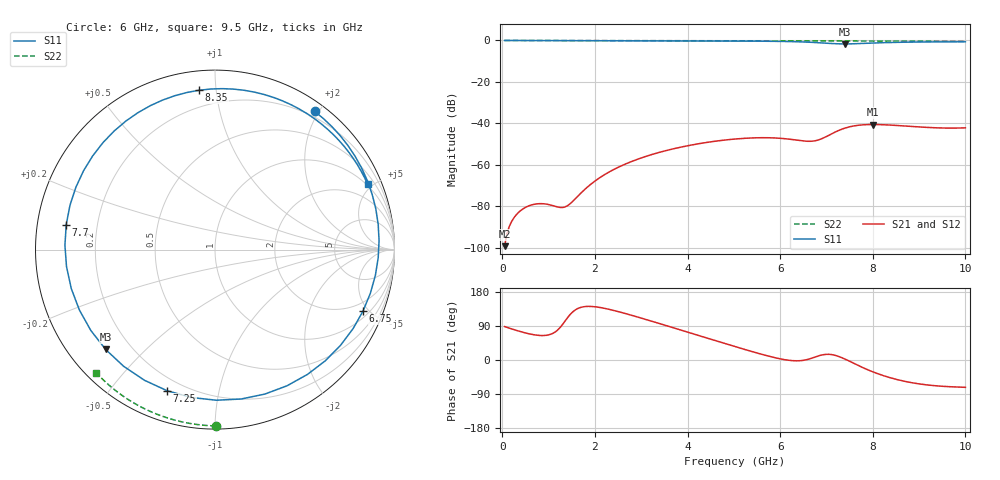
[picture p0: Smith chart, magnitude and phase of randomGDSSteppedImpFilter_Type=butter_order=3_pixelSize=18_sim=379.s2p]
! freq	dB(S11)	phase(S11)	dB(S12)	phase(S12)
!  dB(S21)	phase(S21)	dB(S22)	phase(S22)
!S-par simulation data
#  GHz  S  DB  R 50
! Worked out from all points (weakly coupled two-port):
!   200 points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, 50 MHz to 10 GHz, reference 50 ohm
!   highest |S21| = -40.54 dB at 8 GHz (marker M1); lowest = -99.2 dB at 50 MHz (marker M2)
!   lowest |S11| = -1.7 dB at 7.4 GHz (marker M3), VSWR 10.44, Z = 5.51 - j19.2 ohm
!   |S11| at or under -10 dB: nowhere
!   |S22| runs from -0.5 to 0.0 dB; largest |S21 - S12| = 0
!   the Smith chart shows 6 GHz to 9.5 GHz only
!   S11 on the Smith chart (normalised r, x): 6 GHz: 0.12, +1.95; 6.75 GHz: 1.37, -4.63; 7.25 GHz: 0.14, -0.71; 7.7 GHz: 0.09, +0.08; 8.35 GHz: 0.10, +0.90; 9.5 GHz: 0.92, +4.68
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0.05  -0.00 -3.2  -99.22 88.2  -99.22 88.2  -0.00 -0.8
0.95  -0.07 -58.7  -78.93 65.1  -78.93 65.1  -0.02 -15.3
1.4  -0.10 -84.0  -79.81 110.2  -79.81 110.2  -0.03 -22.5
1.75  -0.11 -102.3  -72.49 140.4  -72.49 140.4  -0.04 -28.0
2.6  -0.15 -142.2  -60.18 124.6  -60.18 124.6  -0.05 -41.1
3.4  -0.18 -176.4  -53.92 96.0  -53.92 96.0  -0.07 -53.2
4.2  -0.21 150.0  -49.96 66.2  -49.96 66.2  -0.09 -64.9
5.05  -0.28 111.1  -47.50 34.6  -47.50 34.6  -0.12 -76.9
5.55  -0.34 84.0  -46.92 16.8  -46.92 16.8  -0.14 -83.7
6  -0.45 54.2  -47.18 3.1  -47.18 3.1  -0.16 -89.8
6.4  -0.65 19.4  -48.20 -2.1  -48.20 -2.1  -0.18 -95.0
6.7  -0.92 -15.7  -48.56 5.4  -48.56 5.4  -0.19 -99.0
6.75  -0.98 -22.6  -48.39 7.6  -48.39 7.6  -0.19 -99.6
7.05  -1.40 -71.0  -45.75 15.0  -45.75 15.0  -0.21 -103.5
7.25  -1.62 -108.7  -43.55 9.9  -43.55 9.9  -0.22 -106.0
7.4  -1.67 -137.6  -42.27 2.4  -42.27 2.4  -0.23 -107.9
7.7  -1.51 170.5  -40.87 -15.2  -40.87 -15.2  -0.26 -111.7
8  -1.24 130.4  -40.54 -31.2  -40.54 -31.2  -0.28 -115.5
8.35  -0.99 95.7  -40.78 -45.9  -40.78 -45.9  -0.31 -119.8
8.9  -0.77 55.9  -41.57 -61.1  -41.57 -61.1  -0.36 -126.6
9.5  -0.68 23.3  -42.22 -69.3  -42.22 -69.3  -0.42 -133.9
10  -0.65 0.8  -42.15 -72.1  -42.15 -72.1  -0.47 -140.0
